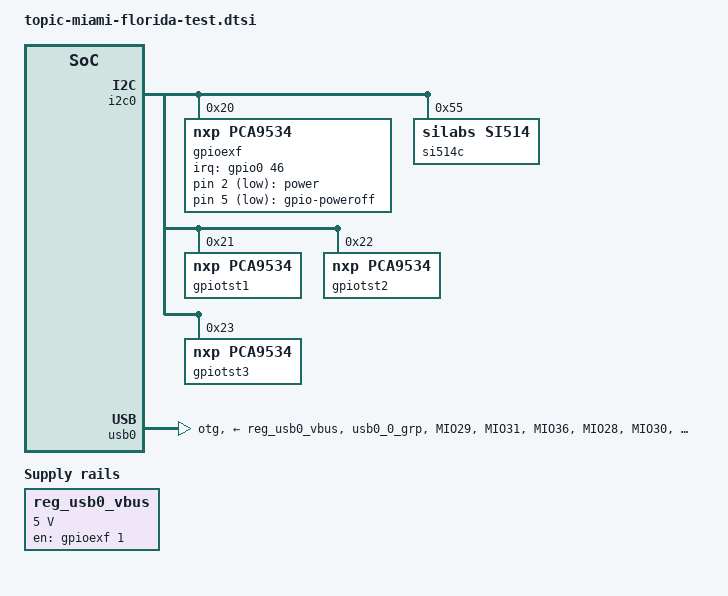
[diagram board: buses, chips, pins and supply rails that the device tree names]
/* Periferals on the florida-test board. Can be combined with miami and miamiplus */

/* No ethernet on this board */
&eth {
	status = "disabled";
};


/ {
	/* Regulator for the 5V USB VBUS power line. This is connected
	 * to the second output of the GPIO expander. */
	reg_usb0_vbus: regulator_usb {
		compatible = "regulator-fixed";
		regulator-name = "usb0-vbus";
		regulator-min-microvolt = <5000000>;
		regulator-max-microvolt = <5000000>;
		gpio = <&gpioexf 1 0>;
		enable-active-high;
	};

	gpio-keys {
		compatible = "gpio-keys";
		#address-cells = <1>;
		#size-cells = <0>;
		power {
			label = "power";
			gpios = <&gpioexf 2 1>; /* Input 2, active low */
			linux,code = <116>; /* KEY_POWER */
			gpio-key,wakeup;
		};
	};

	gpio-poweroff {
		compatible = "gpio-poweroff";
		gpios = <&gpioexf 5 1>; /* Output 5, active low */
		input;
	};
};

/* I2C bus layout */
&i2c0 {
	/* GPIO expander 3v3 */
	gpioexf: pca953x@20 {
		compatible = "nxp,pca9534";
		reg = <0x20>;
		/* 0=USB_OTG_OC_N 1=USB_OTG_EN_N 2=n.c. ...*/
		gpio-controller;
		#gpio-cells = <2>;
		interrupt-controller;
		/* IRQ line connected to MIO 46 */
		interrupt-parent = <&gpio0>;
		interrupts = <46 0x8>; /* GPIO 46, IRQ_TYPE_LEVEL_LOW */
	};

	/* Programmable clock, to clock-capable pins on FPGA */
	si514c: si514@carrier {
		reg = <0x55>;
		#clock-cells = <0>;
		compatible = "silabs,si514";
		clock-output-names = "si514carrier";
	};

	/* GPIO expanders 1v8 */
	gpiotst1: pca953x@21 {
		compatible = "nxp,pca9534";
		reg = <0x21>;
		gpio-controller;
		#gpio-cells = <2>;
	};
	gpiotst2: pca953x@22 {
		compatible = "nxp,pca9534";
		reg = <0x22>;
		gpio-controller;
		#gpio-cells = <2>;
	};
	gpiotst3: pca953x@23 {
		compatible = "nxp,pca9534";
		reg = <0x23>;
		gpio-controller;
		#gpio-cells = <2>;
	};
};

/* USB connected through MIO and GPIO expander */
&usb0 {
	status = "okay";
	vbus-supply = <&reg_usb0_vbus>;
	dr_mode = "otg";
	/* USB reset connected to output 0 of expander */
	xlnx,phy-reset-gpio = <&gpioex 0 0>;
	xlnx,phy-reset-gpio-tristate;
	pinctrl-names = "default";
	pinctrl-0 = <&pinctrl_usb0_default>;
};

&pinctrl0 {
	pinctrl_usb0_default: usb0-default {
		mux {
			groups = "usb0_0_grp";
			function = "usb0";
		};

		conf {
			groups = "usb0_0_grp";
			slew-rate = <0>;
			io-standard = <1>;
		};

		conf-rx {
			pins = "MIO29", "MIO31", "MIO36";
			bias-high-impedance;
		};

		conf-tx {
			pins = "MIO28", "MIO30", "MIO32", "MIO33", "MIO34",
			       "MIO35", "MIO37", "MIO38", "MIO39";
			bias-disable;
		};
	};
};
